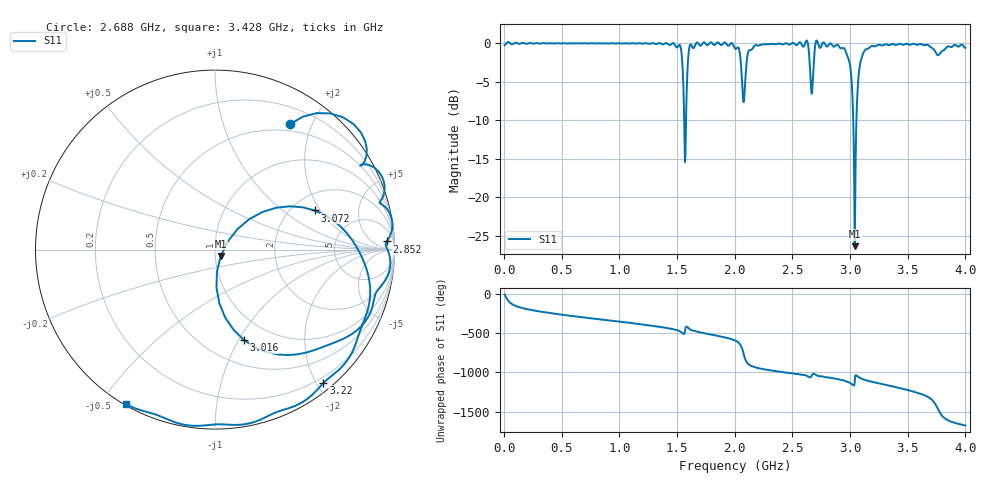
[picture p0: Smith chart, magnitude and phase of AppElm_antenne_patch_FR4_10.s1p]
! TOUCHSTONE file generated by CST MICROWAVE STUDIO
! Date and time: Tue Jun 14 11:27:55 2022
! Project name: AppElm_antenne_patch_FR4.cst
! Parameters = {L=45; W=70.2; e=0.035; h=1.6; lambda=0.190476; ls=120; w0=2.54; w1=0.847; ws=120; y0=18; y1=23.8}
! Header version: 2018
! Port assignment regex: !\s*Touchstone port\s*([0-9]+)\s*=\s*(CST MWS port|CST DS port)\s*([0-9]+|Zmin|Zmax)\s*\(\"(.*)\"\)(\s*mode\s*([0-9]+))?.*
! Touchstone port assignment:
! Touchstone port 1 = CST MWS port 1 ("")
# GHz S MA R 50
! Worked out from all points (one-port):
!   1000 points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, 4 MHz to 4 GHz, reference 50 ohm
!   lowest |S11| = -26.3 dB at 3.04 GHz (marker M1), VSWR 1.10, Z = 53.2 - j3.85 ohm
!   |S11| at or under -10 dB: 1.561 GHz to 1.577 GHz (16 MHz wide, 1.02 % of centre); 3.027 GHz to 3.055 GHz (27.85 MHz wide, 0.916 % of centre)
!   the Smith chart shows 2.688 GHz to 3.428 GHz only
!   S11 on the Smith chart (normalised r, x): 2.688 GHz: 0.41, +1.69; 2.852 GHz: 21, +23; 3.016 GHz: 0.75, -1.05; 3.072 GHz: 2.63, +1.78; 3.22 GHz: 0.12, -2.10; 3.428 GHz: 0.00, -0.58
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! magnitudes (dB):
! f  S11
! 4 MHz  -0.2
! 504 MHz  0.0
! 1.004 GHz  0.0
! 1.504 GHz  -0.5
! 1.532 GHz  -0.6
! 1.568 GHz  -15.4
! 1.62 GHz  -0.2
! 2.004 GHz  -0.7
! 2.076 GHz  -7.6
! 2.168 GHz  -0.4
! 2.504 GHz  0.1
! 2.624 GHz  0.4
! 2.664 GHz  -6.3
! 2.688 GHz  -1.8
! 2.712 GHz  0.4
! 2.852 GHz  -0.4
! 2.956 GHz  -0.8
! 3.004 GHz  -3.3
! 3.016 GHz  -5.5
! 3.028 GHz  -10.4
! 3.04 GHz  -26.3
! 3.056 GHz  -9.4
! 3.072 GHz  -4.5
! 3.116 GHz  -1.2
! 3.22 GHz  -0.4
! 3.428 GHz  -0.1
! 3.504 GHz  -0.1
! 4 GHz  -0.6
